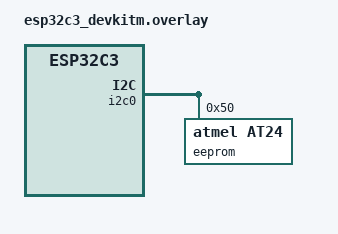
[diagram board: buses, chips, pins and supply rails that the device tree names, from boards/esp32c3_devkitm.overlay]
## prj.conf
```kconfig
CONFIG_I2C=y

CONFIG_EEPROM=y
CONFIG_EEPROM_SHELL=y

CONFIG_SHELL=y
CONFIG_SHELL_VT100_COLORS=n
```

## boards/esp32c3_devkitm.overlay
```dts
&i2c0_default {
    group1 {
        pinmux = <I2C0_SCL_GPIO2>,
                 <I2C0_SDA_GPIO3>;

        bias-pull-up;
        drive-open-drain;
        output-high;
    };
};

&i2c0 {

	eeprom: at24@50 {
		compatible = "atmel,at24";
		reg = <0x50>;
		size = <32768>;
		pagesize = <8>;
		address-width = <8>;
		timeout = <10>;
	};

};
```

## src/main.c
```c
#include <zephyr/kernel.h>

int main(void) {

    printk("EEPROM Shell Example\n");

    return 0;
}
```
